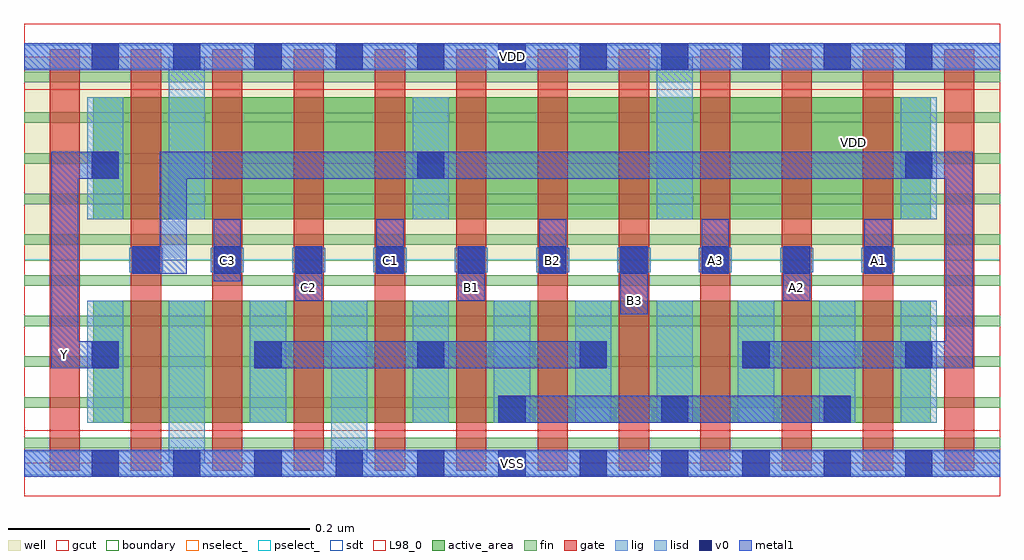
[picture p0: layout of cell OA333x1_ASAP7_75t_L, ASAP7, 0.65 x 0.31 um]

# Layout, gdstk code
import gdstk
lib = gdstk.Library(unit=1e-6, precision=2.5e-10)
def R(c, l, rs):  # rectangles x0, y0, x1, y1
    for r in rs: c.add(gdstk.rectangle(r[:2], r[2:], *l))
def A(c, l, x, y, w, h, nx, ny, dx, dy):  # array of equal rectangles
    R(c, l, [(x+i*dx, y+j*dy, x+i*dx+w, y+j*dy+h) for i in range(nx) for j in range(ny)])
def P(c, l, *ps):  # polygons
    for p in ps: c.add(gdstk.Polygon(p, *l))
well = (1, 0)
fin = (2, 0)
gate = (7, 0)
gcut = (10, 0)
active_area = (11, 0)
nselect_ = (12, 0)
pselect_ = (13, 0)
lig = (16, 0)
lisd = (17, 0)
v0 = (18, 0)
metal1 = (19, 0)
sdt = (88, 0)
L98_0 = (98, 0)
boundary = (100, 0)

oa333x1_asap7_75t_l = lib.new_cell('OA333x1_ASAP7_75t_L')
R(oa333x1_asap7_75t_l, well, [(0,0.135,0.648,0.27)])
A(oa333x1_asap7_75t_l, fin, 0, 0.01, 0.648, 0.007, 1, 10, 0, 0.027)
A(oa333x1_asap7_75t_l, gate, 0.017, -0.005, 0.02, 0.28, 12, 1, 0.054, 0)
R(oa333x1_asap7_75t_l, gcut, [(0,-0.022,0.648,0.022), (0,0.248,0.648,0.292)])
R(oa333x1_asap7_75t_l, active_area, [(0.046,0.027,0.602,0.108), (0.046,0.162,0.602,0.243)])
R(oa333x1_asap7_75t_l, nselect_, [(0,0,0.648,0.135)])
R(oa333x1_asap7_75t_l, pselect_, [(0,0.135,0.648,0.27)])
A(oa333x1_asap7_75t_l, lig, 0.07, 0.127, 0.022, 0.016, 10, 1, 0.054, 0)
R(oa333x1_asap7_75t_l, lig, [(0,-0.008,0.648,0.008), (0,0.262,0.648,0.278)])
A(oa333x1_asap7_75t_l, lisd, 0.042, 0.027, 0.024, 0.081, 3, 1, 0.108, 0)
A(oa333x1_asap7_75t_l, lisd, 0.312, 0.027, 0.024, 0.081, 6, 1, 0.054, 0)
R(oa333x1_asap7_75t_l, lisd, [(0.096,0,0.12,0.108), (0.204,0,0.228,0.108), (0.042,0.162,0.066,0.243), (0.096,0.162,0.12,0.27), (0.258,0.162,0.282,0.243), (0.42,0.162,0.444,0.27), (0.582,0.162,0.606,0.243)])
A(oa333x1_asap7_75t_l, v0, 0.045, -0.009, 0.018, 0.018, 11, 2, 0.054, 0.27)
A(oa333x1_asap7_75t_l, v0, 0.315, 0.027, 0.018, 0.018, 3, 1, 0.108, 0)
A(oa333x1_asap7_75t_l, v0, 0.045, 0.063, 0.018, 0.018, 6, 1, 0.108, 0)
A(oa333x1_asap7_75t_l, v0, 0.072, 0.126, 0.018, 0.018, 10, 1, 0.054, 0)
R(oa333x1_asap7_75t_l, v0, [(0.045,0.189,0.063,0.207), (0.261,0.189,0.279,0.207), (0.585,0.189,0.603,0.207)])
A(oa333x1_asap7_75t_l, metal1, 0.234, 0.126, 0.018, 0.036, 4, 1, 0.108, 0)
R(oa333x1_asap7_75t_l, metal1, [(0,-0.009,0.648,0.009), (0.315,0.027,0.549,0.045), (0.153,0.063,0.387,0.081), (0.396,0.099,0.414,0.144), (0.18,0.108,0.198,0.144), (0.288,0.108,0.306,0.144), (0.504,0.108,0.522,0.144), (0.126,0.121,0.144,0.162), (0,0.261,0.648,0.279)])
P(oa333x1_asap7_75t_l, metal1, [(0.477,0.063),(0.477,0.081),(0.612,0.081),(0.612,0.189),(0.108,0.189),(0.108,0.126),(0.072,0.126),(0.072,0.144),(0.09,0.144),(0.09,0.207),(0.63,0.207),(0.63,0.063)],
  [(0.018,0.063),(0.018,0.207),(0.063,0.207),(0.063,0.189),(0.036,0.189),(0.036,0.081),(0.063,0.081),(0.063,0.063)])
A(oa333x1_asap7_75t_l, sdt, 0.042, 0.027, 0.024, 0.081, 11, 1, 0.054, 0)
A(oa333x1_asap7_75t_l, sdt, 0.096, 0.162, 0.024, 0.081, 4, 1, 0.162, 0)
R(oa333x1_asap7_75t_l, sdt, [(0.042,0.162,0.066,0.243)])
R(oa333x1_asap7_75t_l, L98_0, [(0,0,0.648,0.27)])
R(oa333x1_asap7_75t_l, boundary, [(0,0,0.648,0.27)])
oa333x1_asap7_75t_l.add(gdstk.Label('Y', (0.027,0.072), layer=19, texttype=251))
oa333x1_asap7_75t_l.add(gdstk.Label('C3', (0.135,0.135), layer=19, texttype=251))
oa333x1_asap7_75t_l.add(gdstk.Label('C2', (0.189,0.117), layer=19, texttype=251))
oa333x1_asap7_75t_l.add(gdstk.Label('C1', (0.243,0.135), layer=19, texttype=251))
oa333x1_asap7_75t_l.add(gdstk.Label('B3', (0.405,0.108), layer=19, texttype=251))
oa333x1_asap7_75t_l.add(gdstk.Label('B2', (0.351,0.135), layer=19, texttype=251))
oa333x1_asap7_75t_l.add(gdstk.Label('B1', (0.297,0.117), layer=19, texttype=251))
oa333x1_asap7_75t_l.add(gdstk.Label('A3', (0.459,0.135), layer=19, texttype=251))
oa333x1_asap7_75t_l.add(gdstk.Label('A2', (0.513,0.117), layer=19, texttype=251))
oa333x1_asap7_75t_l.add(gdstk.Label('A1', (0.567,0.135), layer=19, texttype=251))
oa333x1_asap7_75t_l.add(gdstk.Label('VSS', (0.324,0), layer=19, texttype=251))
oa333x1_asap7_75t_l.add(gdstk.Label('VDD', (0.324,0.27), layer=19, texttype=251))
oa333x1_asap7_75t_l.add(gdstk.Label('VDD', (0.551,0.213), layer=1, texttype=251))
oa333x1_asap7_75t_l.add(gdstk.Label('VSS', (0.745,0.213), layer=3, texttype=251))

lib.write_gds('OA333x1_ASAP7_75t_L.gds')
